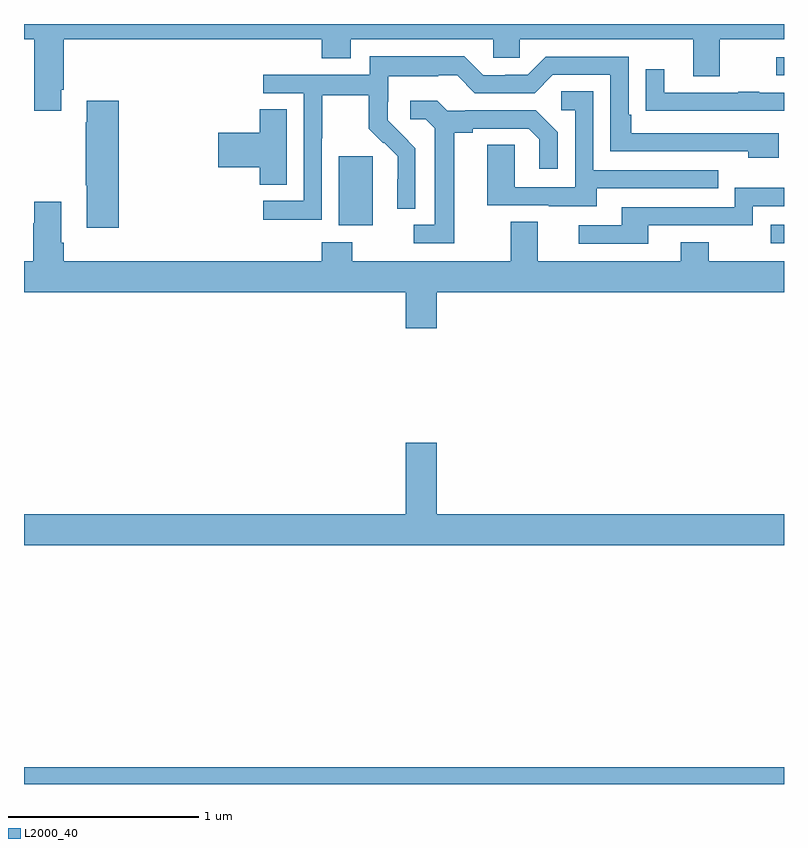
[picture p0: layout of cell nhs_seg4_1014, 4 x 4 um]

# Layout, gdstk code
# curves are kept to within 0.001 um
import gdstk
lib = gdstk.Library(unit=1e-6, precision=1e-09)
def R(c, l, rs):  # rectangles x0, y0, x1, y1
    for r in rs: c.add(gdstk.rectangle(r[:2], r[2:], *l))
def P(c, l, *ps):  # polygons
    for p in ps: c.add(gdstk.Polygon(p, *l))
L2000_40 = (2000, 40)

nhs_seg4_1014 = lib.new_cell('nhs_seg4_1014')
R(nhs_seg4_1014, L2000_40, [(163,792.9,167,792.988), (166.929,795.747,167,795.843), (164.657,795.842,164.836,796.203), (166.959,796.629,167,796.725)])
P(nhs_seg4_1014, L2000_40, [(163.195,796.555),(163.208,796.555),(163.208,796.82),(164.567,796.82),(164.567,796.721),(164.719,796.721),(164.719,796.82),(165.471,796.82),(165.471,796.722),(165.609,796.722),(165.609,796.82),(166.523,796.82),(166.523,796.626),(166.663,796.626),(166.663,796.82),(167,796.82),(167,796.9),(163,796.9),(163,796.82),(163.055,796.82),(163.055,796.443),(163.195,796.443)],
  [(164.568,796.3),(164.571,796.3),(164.571,796.524),(164.815,796.524),(164.815,796.349),(164.892,796.272),(164.895,796.275),(164.966,796.205),(164.966,796.082),(164.964,796.082),(164.964,795.928),(165.06,795.928),(165.06,796.246),(164.914,796.394),(164.914,796.491),(164.916,796.491),(164.916,796.625),(165.179,796.625),(165.179,796.629),(165.279,796.629),(165.372,796.536),(165.687,796.536),(165.783,796.632),(166.086,796.632),(166.086,796.23),(166.811,796.23),(166.811,796.196),(166.972,796.196),(166.972,796.326),(166.195,796.326),(166.195,796.423),(166.182,796.423),(166.182,796.728),(165.747,796.728),(165.651,796.632),(165.533,796.632),(165.533,796.629),(165.417,796.629),(165.317,796.729),(164.82,796.729),(164.82,796.632),(164.259,796.632),(164.259,796.536),(164.472,796.536),(164.472,795.969),(164.259,795.969),(164.259,795.871),(164.568,795.871)],
  [(167,796.539),(166.871,796.539),(166.871,796.544),(166.759,796.544),(166.759,796.539),(166.369,796.539),(166.369,796.663),(166.273,796.663),(166.273,796.444),(166.375,796.444),(166.375,796.443),(167,796.443)],
  [(166.015,796.035),(166.655,796.035),(166.655,796.131),(165.996,796.131),(165.996,796.547),(165.828,796.547),(165.828,796.446),(165.9,796.446),(165.9,796.041),(165.582,796.041),(165.582,796.265),(165.437,796.265),(165.437,795.945),(165.761,795.945),(165.761,795.941),(166.015,795.941)],
  [(163.499,796.495),(163.331,796.495),(163.331,796.382),(163.324,796.382),(163.324,796.051),(163.331,796.051),(163.331,795.828),(163.499,795.828)],
  [(165.265,796.328),(165.361,796.328),(165.361,796.35),(165.656,796.35),(165.713,796.293),(165.713,796.137),(165.81,796.137),(165.81,796.33),(165.694,796.446),(165.322,796.446),(165.322,796.443),(165.228,796.443),(165.176,796.495),(165.033,796.495),(165.033,796.398),(165.114,796.398),(165.161,796.351),(165.161,795.843),(165.051,795.843),(165.051,795.747),(165.265,795.747)],
  [(164.383,796.451),(164.24,796.451),(164.24,796.328),(164.022,796.328),(164.022,796.145),(164.24,796.145),(164.24,796.054),(164.383,796.054)],
  [(166.285,795.84),(166.836,795.84),(166.836,795.942),(167,795.942),(167,796.039),(166.74,796.039),(166.74,795.936),(166.145,795.936),(166.145,795.84),(165.921,795.84),(165.921,795.744),(166.285,795.744)],
  [(165.172,795.488),(167,795.488),(167,795.652),(166.605,795.652),(166.605,795.751),(166.457,795.751),(166.457,795.652),(165.703,795.652),(165.703,795.86),(165.563,795.86),(165.563,795.652),(164.727,795.652),(164.727,795.751),(164.567,795.751),(164.567,795.652),(163.208,795.652),(163.208,795.748),(163.195,795.748),(163.195,795.964),(163.055,795.964),(163.055,795.851),(163.048,795.851),(163.048,795.652),(163,795.652),(163,795.488),(165.008,795.488),(165.008,795.3),(165.172,795.3)],
  [(167,794.32),(165.172,794.32),(165.172,794.695),(165.008,794.695),(165.008,794.32),(163,794.32),(163,794.156),(167,794.156)])

lib.write_gds('nhs_seg4_1014.gds')
